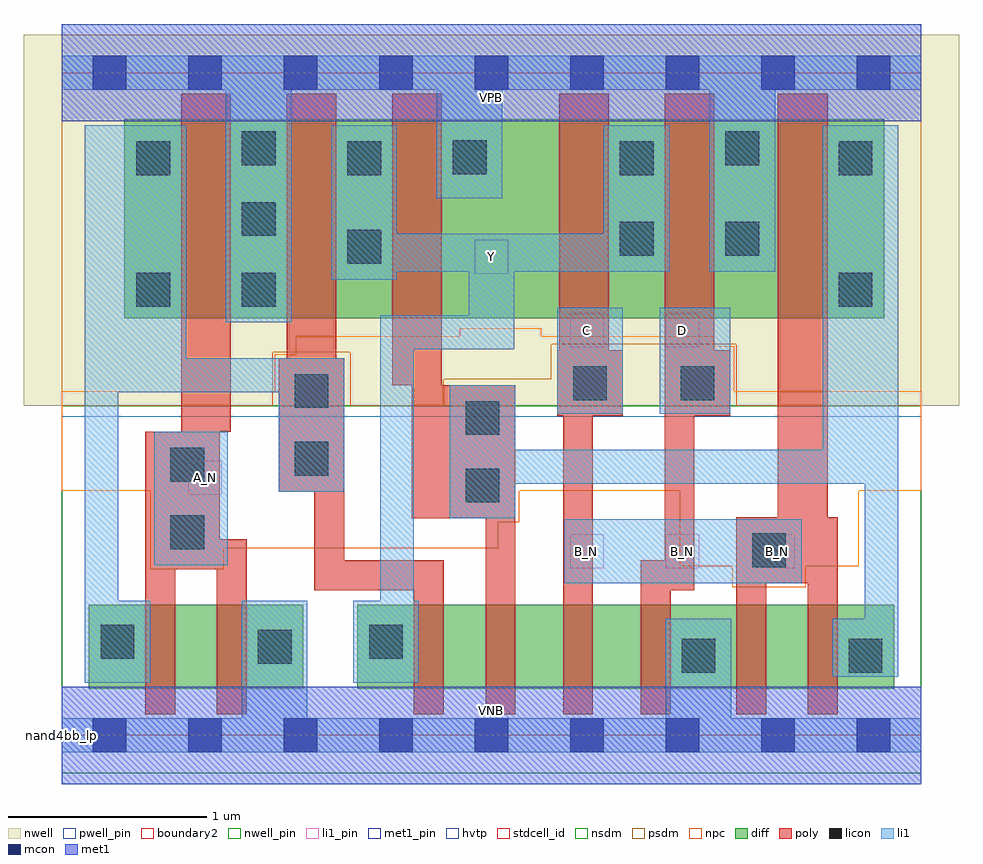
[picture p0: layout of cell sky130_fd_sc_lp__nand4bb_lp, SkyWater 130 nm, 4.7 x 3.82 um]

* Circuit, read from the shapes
.subckt sky130_fd_sc_lp__nand4bb_lp A_N B_N C D VGND VNB VPB VPWR Y
XM1 n1 A_N n2 VNB sky130_fd_pr__nfet_01v8 w=0.42 l=0.15
XM2 VGND A_N n1 VNB sky130_fd_pr__nfet_01v8 w=0.42 l=0.15
XM3 n3 n2 Y VNB sky130_fd_pr__nfet_01v8 w=0.42 l=0.15
XM4 n4 n5 n3 VNB sky130_fd_pr__nfet_01v8 w=0.42 l=0.15
XM5 n6 C n4 VNB sky130_fd_pr__nfet_01v8 w=0.42 l=0.15
XM6 VGND D n6 VNB sky130_fd_pr__nfet_01v8 w=0.42 l=0.15
XM7 n7 B_N VGND VNB sky130_fd_pr__nfet_01v8 w=0.42 l=0.15
XM8 n5 B_N n7 VNB sky130_fd_pr__nfet_01v8 w=0.42 l=0.15
XM9 VPWR A_N n2 VPB sky130_fd_pr__pfet_01v8_hvt w=1 l=0.25
XM10 Y n2 VPWR VPB sky130_fd_pr__pfet_01v8_hvt w=1 l=0.25
XM11 VPWR n5 Y VPB sky130_fd_pr__pfet_01v8_hvt w=1 l=0.25
XM12 Y C VPWR VPB sky130_fd_pr__pfet_01v8_hvt w=1 l=0.25
XM13 VPWR D Y VPB sky130_fd_pr__pfet_01v8_hvt w=1 l=0.25
XM14 n5 B_N VPWR VPB sky130_fd_pr__pfet_01v8_hvt w=1 l=0.25
.ends

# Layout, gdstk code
import gdstk
lib = gdstk.Library(unit=1e-6, precision=1e-09)
def R(c, l, rs):  # rectangles x0, y0, x1, y1
    for r in rs: c.add(gdstk.rectangle(r[:2], r[2:], *l))
def A(c, l, x, y, w, h, nx, ny, dx, dy):  # array of equal rectangles
    R(c, l, [(x+i*dx, y+j*dy, x+i*dx+w, y+j*dy+h) for i in range(nx) for j in range(ny)])
def P(c, l, *ps):  # polygons
    for p in ps: c.add(gdstk.Polygon(p, *l))
nwell_pin = (64, 16)
nwell = (64, 20)
diff = (65, 20)
poly = (66, 20)
licon = (66, 44)
li1_pin = (67, 16)
li1 = (67, 20)
mcon = (67, 44)
met1_pin = (68, 16)
met1 = (68, 20)
hvtp = (78, 44)
stdcell_id = (81, 4)
nsdm = (93, 44)
psdm = (94, 20)
npc = (95, 20)
pwell_pin = (122, 16)
boundary2 = (236, 0)

sky130_fd_sc_lp__nand4bb = lib.new_cell('sky130_fd_sc_lp__nand4bb_lp')
R(sky130_fd_sc_lp__nand4bb, nwell_pin, [(0,3.085,4.32,3.33)])
R(sky130_fd_sc_lp__nand4bb, nwell, [(-0.19,1.655,4.51,3.52)])
R(sky130_fd_sc_lp__nand4bb, diff, [(0.135,0.235,1.215,0.655), (1.485,0.235,4.185,0.655), (0.315,2.095,4.135,3.095)])
P(sky130_fd_sc_lp__nand4bb, poly, [(0.93,0.985),(0.795,0.985),(0.795,1.525),(0.85,1.525),(0.85,3.225),(0.6,3.225),(0.6,1.525),(0.42,1.525),(0.42,0.105),(0.57,0.105),(0.57,0.835),(0.78,0.835),(0.78,0.105),(0.93,0.105)],
  [(1.92,0.88),(1.42,0.88),(1.42,1.895),(1.38,1.895),(1.38,3.225),(1.13,3.225),(1.13,1.895),(1.09,1.895),(1.09,1.225),(1.27,1.225),(1.27,0.73),(1.77,0.73),(1.77,0.105),(1.92,0.105)],
  [(2.28,1.76),(1.91,1.76),(1.91,3.225),(1.66,3.225),(1.66,1.76),(1.76,1.76),(1.76,1.09),(2.13,1.09),(2.13,0.105),(2.28,0.105)],
  [(2.82,1.935),(2.75,1.935),(2.75,3.225),(2.5,3.225),(2.5,1.935),(2.49,1.935),(2.49,1.605),(2.52,1.605),(2.52,0.105),(2.67,0.105),(2.67,1.605),(2.82,1.605)],
  [(3.36,1.935),(3.28,1.935),(3.28,3.225),(3.03,3.225),(3.03,0.88),(2.91,0.88),(2.91,0.105),(3.06,0.105),(3.06,0.73),(3.18,0.73),(3.18,1.605),(3.36,1.605)],
  [(3.9,1.095),(3.85,1.095),(3.85,3.225),(3.6,3.225),(3.6,1.095),(3.39,1.095),(3.39,0.105),(3.54,0.105),(3.54,0.765),(3.75,0.765),(3.75,0.105),(3.9,0.105)])
A(sky130_fd_sc_lp__nand4bb, licon, 0.905, 2.155, 0.17, 0.17, 1, 3, 0, 0.355)
R(sky130_fd_sc_lp__nand4bb, licon, [(3.115,0.315,3.285,0.485), (3.955,0.315,4.125,0.485), (0.985,0.36,1.155,0.53), (0.195,0.385,0.365,0.555), (1.545,0.385,1.715,0.555), (3.47,0.845,3.64,1.015), (0.545,0.935,0.715,1.105), (2.03,1.17,2.2,1.34), (0.545,1.275,0.715,1.445), (1.17,1.305,1.34,1.475), (2.03,1.51,2.2,1.68), (1.17,1.645,1.34,1.815), (2.57,1.685,2.74,1.855), (3.11,1.685,3.28,1.855), (0.375,2.155,0.545,2.325), (3.905,2.155,4.075,2.325), (1.435,2.37,1.605,2.54), (2.805,2.41,2.975,2.58), (3.335,2.41,3.505,2.58), (0.375,2.815,0.545,2.985), (1.435,2.815,1.605,2.985), (2.805,2.815,2.975,2.985), (3.905,2.815,4.075,2.985), (1.965,2.82,2.135,2.99), (3.335,2.865,3.505,3.035)])
A(sky130_fd_sc_lp__nand4bb, li1_pin, 2.555, 0.84, 0.17, 0.17, 3, 1, 0.48, 0)
R(sky130_fd_sc_lp__nand4bb, li1_pin, [(0.635,1.21,0.805,1.38), (2.555,1.95,2.725,2.12), (3.035,1.95,3.205,2.12), (2.075,2.32,2.245,2.49)])
R(sky130_fd_sc_lp__nand4bb, li1, [(2.525,0.765,3.72,1.085), (0.465,0.855,0.835,1.525), (2.49,1.615,2.82,2.15), (3.005,1.615,3.36,2.15)])
P(sky130_fd_sc_lp__nand4bb, li1, [(3.255,2.33),(3.255,3.245),(2.215,3.245),(2.215,2.7),(1.885,2.7),(1.885,3.245),(1.155,3.245),(1.155,2.075),(0.825,2.075),(0.825,3.245),(0,3.245),(0,3.415),(4.32,3.415),(4.32,3.245),(3.585,3.245),(3.585,2.33)],
  [(3.035,0.085),(3.035,0.585),(3.365,0.585),(3.365,0.085),(4.32,0.085),(4.32,-0.085),(0,-0.085),(0,0.085),(0.905,0.085),(0.905,0.675),(1.235,0.675),(1.235,0.085)],
  [(2.28,1.435),(3.825,1.435),(3.825,3.065),(4.205,3.065),(4.205,0.295),(3.875,0.295),(3.875,0.585),(4.035,0.585),(4.035,1.265),(2.28,1.265),(2.28,1.09),(1.95,1.09),(1.95,1.76),(2.28,1.76)],
  [(1.685,2.52),(2.725,2.52),(2.725,3.065),(3.055,3.065),(3.055,2.33),(2.275,2.33),(2.275,1.94),(1.77,1.94),(1.77,0.675),(1.795,0.675),(1.795,0.265),(1.465,0.265),(1.465,0.675),(1.6,0.675),(1.6,2.11),(2.045,2.11),(2.045,2.33),(1.685,2.33),(1.685,2.29),(1.355,2.29),(1.355,3.065),(1.685,3.065)],
  [(0.625,1.895),(1.42,1.895),(1.42,1.225),(1.09,1.225),(1.09,1.725),(0.285,1.725),(0.285,0.675),(0.445,0.675),(0.445,0.265),(0.115,0.265),(0.115,3.065),(0.625,3.065)])
A(sky130_fd_sc_lp__nand4bb, mcon, 0.155, -0.085, 0.17, 0.17, 9, 2, 0.48, 3.33)
R(sky130_fd_sc_lp__nand4bb, met1_pin, [(0,0,4.32,0.245), (0,3.085,4.32,3.33)])
R(sky130_fd_sc_lp__nand4bb, met1, [(0,-0.245,4.32,0.245), (0,3.085,4.32,3.575)])
R(sky130_fd_sc_lp__nand4bb, hvtp, [(0,1.6,4.32,3.33)])
R(sky130_fd_sc_lp__nand4bb, stdcell_id, [(0,0,4.32,3.33)])
R(sky130_fd_sc_lp__nand4bb, nsdm, [(0,-0.19,4.32,1.655)])
P(sky130_fd_sc_lp__nand4bb, psdm, [(4.32,3.52),(0,3.52),(0,1.655),(1.06,1.655),(1.06,1.925),(1.45,1.925),(1.45,1.655),(1.92,1.655),(1.92,1.79),(2.46,1.79),(2.46,1.965),(3.39,1.965),(3.39,1.655),(4.32,1.655)])
P(sky130_fd_sc_lp__nand4bb, npc, [(4.32,1.73),(3.38,1.73),(3.38,1.955),(3.275,1.955),(3.275,2.005),(2.41,2.005),(2.41,2.045),(2,2.045),(2,2.005),(1.175,2.005),(1.175,1.915),(1.07,1.915),(1.07,1.73),(0,1.73),(0,1.23),(0.445,1.23),(0.445,0.835),(0.815,0.835),(0.815,0.94),(2.195,0.94),(2.195,1.07),(2.3,1.07),(2.3,1.23),(3.105,1.23),(3.105,0.85),(3.37,0.85),(3.37,0.745),(3.74,0.745),(3.74,0.85),(4.005,0.85),(4.005,1.23),(4.32,1.23)])
R(sky130_fd_sc_lp__nand4bb, pwell_pin, [(0,0,4.32,0.245)])
R(sky130_fd_sc_lp__nand4bb, boundary2, [(0,0,4.32,3.33)])
sky130_fd_sc_lp__nand4bb.add(gdstk.Label('VNB', (2.16,0.123), layer=64, texttype=59))
sky130_fd_sc_lp__nand4bb.add(gdstk.Label('VPB', (2.16,3.208), layer=64, texttype=5))
sky130_fd_sc_lp__nand4bb.add(gdstk.Label('nand4bb_lp', (0,0), layer=83, texttype=44))
sky130_fd_sc_lp__nand4bb.add(gdstk.Label('VPWR', (2.16,3.208), layer=68, texttype=5))
sky130_fd_sc_lp__nand4bb.add(gdstk.Label('VGND', (2.16,0.123), layer=68, texttype=5))
sky130_fd_sc_lp__nand4bb.add(gdstk.Label('B_N', (2.64,0.925), layer=67, texttype=5))
sky130_fd_sc_lp__nand4bb.add(gdstk.Label('B_N', (3.12,0.925), layer=67, texttype=5))
sky130_fd_sc_lp__nand4bb.add(gdstk.Label('B_N', (3.6,0.925), layer=67, texttype=5))
sky130_fd_sc_lp__nand4bb.add(gdstk.Label('A_N', (0.72,1.295), layer=67, texttype=5))
sky130_fd_sc_lp__nand4bb.add(gdstk.Label('D', (3.12,2.035), layer=67, texttype=5))
sky130_fd_sc_lp__nand4bb.add(gdstk.Label('Y', (2.16,2.405), layer=67, texttype=5))
sky130_fd_sc_lp__nand4bb.add(gdstk.Label('C', (2.64,2.035), layer=67, texttype=5))

lib.write_gds('sky130_fd_sc_lp__nand4bb_lp.gds')
